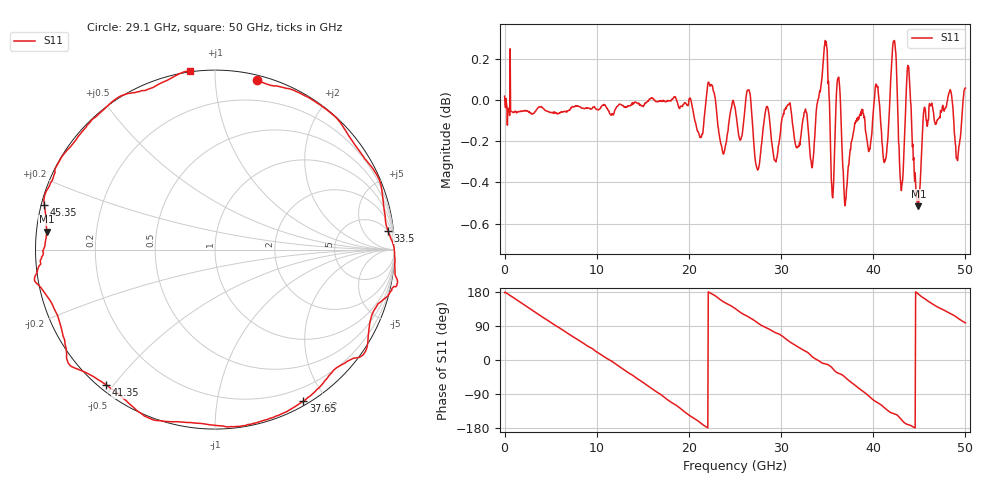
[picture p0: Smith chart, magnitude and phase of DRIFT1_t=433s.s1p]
!Created with skrf (http://scikit-rf.org).
# Hz S RI R 50.0
!freq ReS11 ImS11
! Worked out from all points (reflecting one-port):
!   1001 points, 300 kHz to 50 GHz, reference 50 ohm
!   lowest |S11| = -0.5 dB at 44.9 GHz (marker M1), VSWR 33.68, Z = 1.49 + j2.66 ohm
!   phase of S11 starts at 178 deg and turns -800 deg over the sweep
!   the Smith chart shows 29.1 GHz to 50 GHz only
!   S11 on the Smith chart (normalised r, x): 29.1 GHz: 0.04, +1.28; 33.5 GHz: 5, +17; 37.65 GHz: 0.05, -1.74; 41.35 GHz: 0.02, -0.48; 45.35 GHz: 0.01, +0.13; 50 GHz: -0.01, +0.87
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300000  -1.001 0.0388
1.75029e9  -0.8742 0.4723
3.650278e9  -0.5089 0.856
6.250262e9  0.1736 0.978
7.950252e9  0.5906 0.803
9.850241e9  0.9134 0.3954
1.250022e10  0.9472 -0.3136
1.395022e10  0.75 -0.6582
1.59002e10  0.2778 -0.962
1.875019e10  -0.5256 -0.8493
2.015018e10  -0.8484 -0.5315
2.200017e10  -1.007 -0.0286
2.500015e10  -0.7183 0.6899
2.660014e10  -0.3757 0.9315
2.910013e10  0.2351 0.9433
3.125011e10  0.7195 0.6749
3.35001e10  0.9638 0.1057
3.500009e10  1.007 -0.2074
3.750008e10  0.5311 -0.815
3.765007e10  0.4917 -0.8444
3.915007e10  0.0439 -0.9824
4.135005e10  -0.6074 -0.7532
4.245005e10  -0.8255 -0.6106
4.375004e10  -1.005 -0.1738
4.490003e10  -0.937 0.1
4.535003e10  -0.9502 0.25
4.715002e10  -0.7322 0.6664
5e10  -0.1384 0.9972
